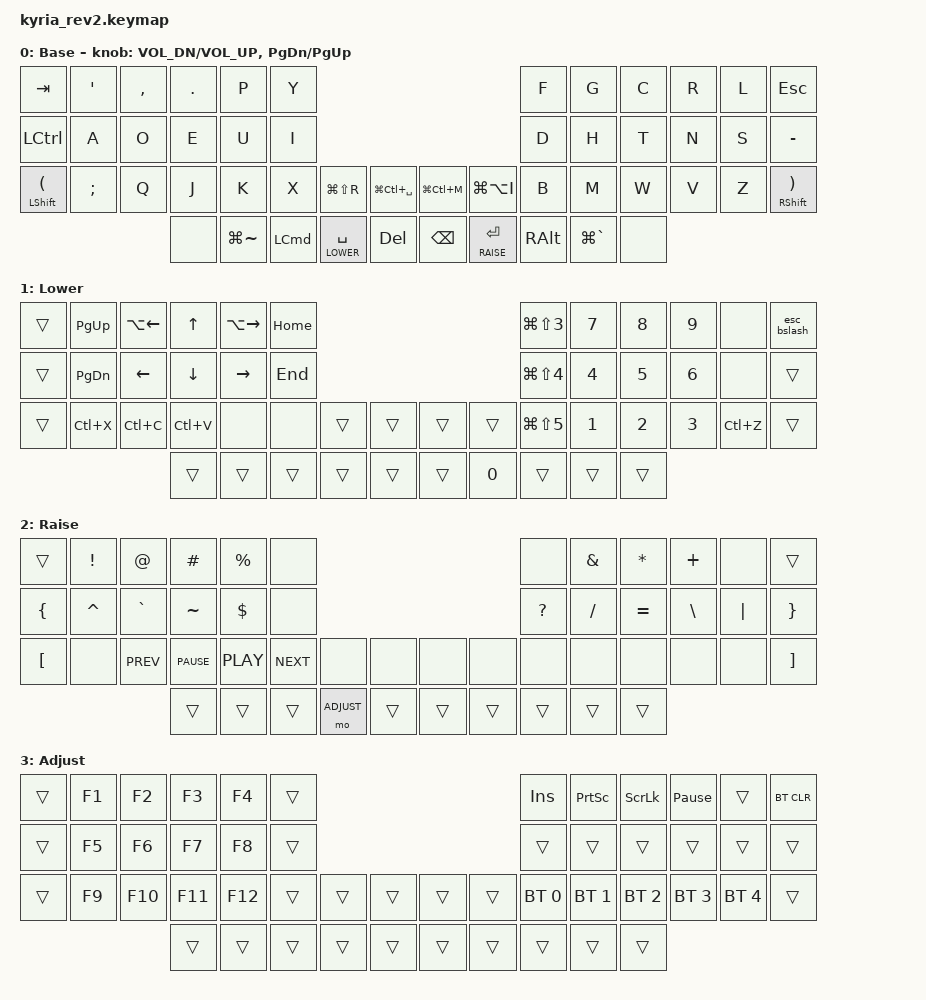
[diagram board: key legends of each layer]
/*
 * Copyright (c) 2022 Kuno Woudt
 *
 * SPDX-License-Identifier: MIT
 */

#include <behaviors.dtsi>
#include <dt-bindings/zmk/keys.h>
#include <dt-bindings/zmk/bt.h>
#include <dt-bindings/zmk/outputs.h>

#define DEFAULT 0
#define LOWER   1
#define RAISE   2
#define ADJUST  3

#define KW_FRSH    LG(LS(R))           // browser refresh
#define KW_DEVT    LG(LA(I))           // browser dev tools
#define KW_EMOJ    LG(LC(SPACE))       // macos emoji picker
#define KW_MOOM    LG(LC(M))           // moom window management
#define KW_WINF    LG(GRAVE)           // cmd+` (macos, next window of current app)
#define KW_WINB    LG(TILDE)           // cmd+~ (macos, prev window of current app)

#define WORD_L     LA(LEFT)            // alt+left (word left, macos/emacs)
#define WORD_R     LA(RIGHT)           // alt+right (word right, macos/emacs)

#define KW_SCR3    LG(LS(N3))          // screenshot (macos)
#define KW_SCR4    LG(LS(N4))          // screenshot (region, macos)
#define KW_SCR5    LG(LS(N5))          // screenshot (window/etc..., macos)

#define KW_UNDO    LC(Z)               // cmd+z  undo
#define KW_CUT     LC(X)               // cmd+x  cut
#define KW_COPY    LC(C)               // cmd+c  copy
#define KW_PASTE   LC(V)               // cmd+v  paste

// Using layer taps on thumbs, having quick tap as well helps w/ repeating space/backspace
// &lt { quick_tap_ms = <200>; };

/ {
    macros {
        ZMK_MACRO(esc_bslash,
            wait-ms = <40>;
            tap-ms = <40>;
            bindings = <&kp ESC>, <&kp BACKSLASH>;
        )
    };

    keymap {
        compatible = "zmk,keymap";

        default_layer {
            label = "Base";
            bindings = <
            // ╭──────────┬──────────┬──────────┬──────────┬──────────┬──────────╮                                                 ╭──────────┬──────────┬──────────┬─────────┬──────────┬───────────╮
                &kp TAB    &kp APOS   &kp COMMA  &kp DOT    &kp P      &kp Y                                                        &kp F      &kp G      &kp C      &kp R     &kp L      &kp ESC
                &kp LCTRL  &kp A      &kp O      &kp E      &kp U      &kp I                                                        &kp D      &kp H      &kp T      &kp N     &kp S      &kp MINUS
           &mt LSHFT LPAR  &kp SEMI   &kp Q      &kp J      &kp K      &kp X   &kp KW_FRSH  &kp KW_EMOJ   &kp KW_MOOM  &kp KW_DEVT  &kp B      &kp M      &kp W      &kp V     &kp Z      &mt RSHFT RPAR
            // ╰──────────┴──────────┴───────┬──┴──────────┴──────────┴───────╮                                                   ╭─────────┬────────────┴──────────┴─────────┴──────────┴───────────╯
                                              &none     &kp KW_WINB  &kp LCMD  &lt LOWER SPACE  &kp DEL   &kp BSPC  &lt RAISE RET  &kp RALT  &kp KW_WINF  &none
            //                               ╰─────────┴────────────┴─────────┴────────────────┴───────╯ ╰─────────┴──────────────┴─────────┴────────────┴──────╯
            >;

            sensor-bindings = <&inc_dec_kp C_VOL_DN C_VOL_UP &inc_dec_kp PG_DN PG_UP>;
        };

        lower_layer {
            label = "Lower";
            bindings = <
            // ╭──────────┬──────────┬──────────┬──────────┬──────────┬──────────╮                                                 ╭──────────┬──────────┬──────────┬─────────┬──────────┬───────────╮
                &trans     &kp PG_UP  &kp WORD_L  &kp UP     &kp WORD_R &kp HOME                                                    &kp KW_SCR3  &kp N7   &kp N8     &kp N9    &none      &esc_bslash
                &trans     &kp PG_DN  &kp LEFT    &kp DOWN   &kp RIGHT  &kp END                                                     &kp KW_SCR4  &kp N4   &kp N5     &kp N6    &none      &trans
                &trans     &kp KW_CUT &kp KW_COPY &kp KW_PASTE  &none   &none      &trans      &trans        &trans       &trans    &kp KW_SCR5  &kp N1   &kp N2     &kp N3    &kp KW_UNDO &trans
            // ╰──────────┴──────────┴───────┬──┴──────────┴──────────┴───────╮                                                   ╭─────────┬────────────┴──────────┴─────────┴──────────┴───────────╯
                                               &trans    &trans       &trans    &trans          &trans    &trans     &kp N0        &trans    &trans       &trans
            //                               ╰─────────┴────────────┴─────────┴────────────────┴───────╯ ╰─────────┴──────────────┴─────────┴────────────┴──────╯
            >;
        };

        raise_layer {
            label = "Raise";
            bindings = <
            // ╭──────────┬──────────┬──────────┬──────────┬──────────┬──────────╮                                                 ╭──────────┬──────────┬──────────┬─────────┬──────────┬───────────╮
                &trans     &kp EXCL   &kp AT     &kp HASH   &kp PRCNT  &none                                                        &none      &kp AMPS   &kp STAR   &kp PLUS  &none      &trans
                &kp LBRC   &kp CARET  &kp GRAVE  &kp TILDE  &kp DLLR   &none                                                        &kp QMARK  &kp SLASH  &kp EQUAL  &kp BSLH  &kp PIPE   &kp RBRC
                &kp LBKT   &none      &kp C_PREV  &kp C_PAUSE  &kp C_PLAY  &kp C_NEXT   &none   &none      &none        &none       &none      &none      &none      &none     &none      &kp RBKT
            // ╰──────────┴──────────┴───────┬──┴──────────┴──────────┴───────╮                                                   ╭─────────┬────────────┴──────────┴─────────┴──────────┴───────────╯
                                               &trans    &trans       &trans    &mo ADJUST      &trans     &trans   &trans          &trans    &trans      &trans
            //                               ╰─────────┴────────────┴─────────┴────────────────┴───────╯ ╰─────────┴──────────────┴─────────┴────────────┴──────╯
            >;
        };

        adjust_layer {
            label = "Adjust";
            bindings = <
            // ╭──────────┬──────────┬──────────┬──────────┬──────────┬──────────╮                                      ╭──────────────┬──────────────┬──────────────┬──────────────┬──────────────┬────────────╮
                 &trans     &kp F1     &kp F2     &kp F3     &kp F4     &trans                                            &kp INS        &kp PSCRN      &kp SLCK       &kp PAUSE_BREAK  &trans       &bt BT_CLR
                 &trans     &kp F5     &kp F6     &kp F7     &kp F8     &trans                                            &trans         &trans         &trans         &trans         &trans         &trans
                 &trans     &kp F9     &kp F10    &kp F11    &kp F12    &trans     &trans   &trans     &trans   &trans    &bt BT_SEL 0   &bt BT_SEL 1   &bt BT_SEL 2   &bt BT_SEL 3   &bt BT_SEL 4   &trans
            // ╰──────────┴──────────┴──────────┴─────┬────┴──────────┴──────────╮                                     ╭─────────┬─────┴──────────────┴──────────────┴──────────────┴──────────────┴────────────╯
                                                        &trans   &trans   &trans   &trans   &trans     &trans   &trans   &trans    &trans      &trans
            //                                        ╰────────┴────────┴────────┴────────┴────────╯ ╰────────┴────────┴─────────┴────────────┴──────╯
            >;
        };

    };
};
